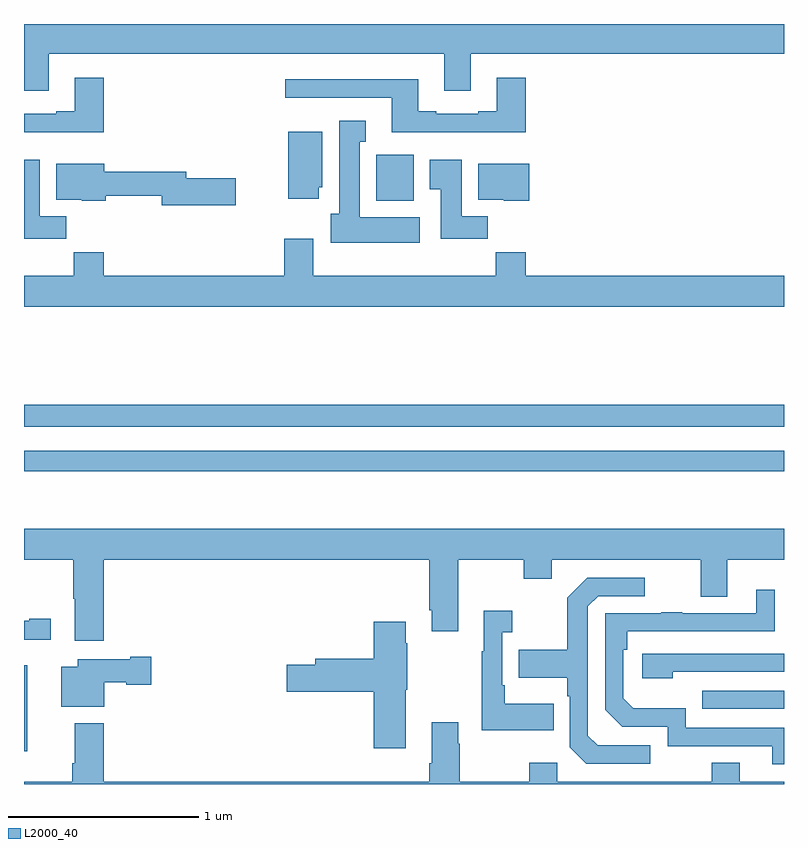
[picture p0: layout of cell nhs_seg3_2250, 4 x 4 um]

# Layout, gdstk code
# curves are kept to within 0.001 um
import gdstk
lib = gdstk.Library(unit=1e-6, precision=1e-09)
def R(c, l, rs):  # rectangles x0, y0, x1, y1
    for r in rs: c.add(gdstk.rectangle(r[:2], r[2:], *l))
def P(c, l, *ps):  # polygons
    for p in ps: c.add(gdstk.Polygon(p, *l))
L2000_40 = (2000, 40)

nhs_seg3_2250 = lib.new_cell('nhs_seg3_2250')
R(nhs_seg3_2250, L2000_40, [(227,702.573,227.017,703.024), (230.569,702.795,231,702.891), (227,704.046,231,704.154), (227,704.28,231,704.396), (228.854,705.47,229.051,705.712)])
P(nhs_seg3_2250, L2000_40, [(227.131,706.244),(229.211,706.244),(229.211,706.05),(229.351,706.05),(229.351,706.244),(231,706.244),(231,706.4),(227,706.4),(227,706.05),(227.131,706.05)],
  [(229.64,706.117),(229.487,706.117),(229.487,705.94),(229.391,705.94),(229.391,705.927),(229.171,705.927),(229.171,705.94),(229.075,705.94),(229.075,706.108),(228.375,706.108),(228.375,706.011),(228.935,706.011),(228.935,705.83),(229.64,705.83)],
  [(227.42,706.117),(227.267,706.117),(227.267,705.94),(227.171,705.94),(227.171,705.927),(227,705.927),(227,705.83),(227.42,705.83)],
  [(229.084,705.382),(228.766,705.382),(228.766,705.779),(228.799,705.779),(228.799,705.892),(228.659,705.892),(228.659,705.402),(228.614,705.402),(228.614,705.248),(229.084,705.248)],
  [(228.55,705.54),(228.571,705.54),(228.571,705.832),(228.392,705.832),(228.392,705.48),(228.55,705.48)],
  [(229.442,705.388),(229.303,705.388),(229.303,705.685),(229.136,705.685),(229.136,705.529),(229.193,705.529),(229.193,705.27),(229.442,705.27)],
  [(227.222,705.388),(227.083,705.388),(227.083,705.685),(227,705.685),(227,705.27),(227.222,705.27)],
  [(229.66,705.664),(229.391,705.664),(229.391,705.476),(229.524,705.476),(229.524,705.47),(229.66,705.47)],
  [(228.115,705.587),(227.854,705.587),(227.854,705.623),(227.422,705.623),(227.422,705.664),(227.171,705.664),(227.171,705.476),(227.304,705.476),(227.304,705.47),(227.43,705.47),(227.43,705.495),(227.726,705.495),(227.726,705.445),(228.115,705.445)],
  [(231,705.076),(229.64,705.076),(229.64,705.2),(229.483,705.2),(229.483,705.076),(228.523,705.076),(228.523,705.271),(228.371,705.271),(228.371,705.076),(227.42,705.076),(227.42,705.2),(227.263,705.2),(227.263,705.076),(227,705.076),(227,704.912),(231,704.912)],
  [(227.42,703.58),(229.133,703.58),(229.133,703.315),(229.145,703.315),(229.145,703.203),(229.285,703.203),(229.285,703.58),(229.63,703.58),(229.63,703.481),(229.777,703.481),(229.777,703.58),(230.561,703.58),(230.561,703.386),(230.701,703.386),(230.701,703.58),(231,703.58),(231,703.744),(227,703.744),(227,703.58),(227.26,703.58),(227.26,703.376),(227.267,703.376),(227.267,703.155),(227.42,703.155)],
  [(230.296,702.603),(230.019,702.603),(229.968,702.654),(229.968,703.335),(230.022,703.389),(230.266,703.389),(230.266,703.485),(229.965,703.485),(229.86,703.379),(229.86,703.107),(229.603,703.107),(229.603,702.959),(229.86,702.959),(229.86,702.863),(229.872,702.863),(229.872,702.594),(229.959,702.507),(230.296,702.507)],
  [(231,702.696),(230.484,702.696),(230.484,702.799),(230.207,702.799),(230.154,702.852),(230.154,703.106),(230.174,703.106),(230.174,703.203),(230.951,703.204),(230.951,703.423),(230.855,703.423),(230.855,703.299),(230.465,703.299),(230.465,703.304),(230.353,703.304),(230.353,703.299),(230.058,703.299),(230.058,702.792),(230.148,702.702),(230.388,702.702),(230.388,702.6),(230.939,702.6),(230.939,702.504),(231,702.504)],
  [(229.787,702.823),(229.531,702.823),(229.531,702.919),(229.518,702.919),(229.518,703.199),(229.57,703.199),(229.57,703.312),(229.421,703.312),(229.421,703.099),(229.41,703.099),(229.41,702.683),(229.787,702.683)],
  [(227.14,703.27),(227.027,703.27),(227.027,703.26),(227,703.26),(227,703.16),(227.14,703.16)],
  [(229.009,702.897),(229.017,702.897),(229.017,703.142),(229.009,703.142),(229.009,703.255),(228.842,703.255),(228.842,703.058),(228.533,703.058),(228.533,703.028),(228.384,703.028),(228.384,702.886),(228.842,702.886),(228.842,702.588),(229.009,702.588)],
  [(230.414,702.99),(231,702.99),(231,703.086),(230.253,703.086),(230.253,702.956),(230.414,702.956)],
  [(227.422,702.935),(227.538,702.935),(227.538,702.923),(227.671,702.923),(227.671,703.07),(227.558,703.07),(227.558,703.057),(227.282,703.057),(227.282,703.018),(227.195,703.018),(227.195,702.806),(227.422,702.806)],
  [(227.42,702.721),(227.267,702.721),(227.267,702.508),(227.255,702.508),(227.255,702.412),(227,702.412),(227,702.4),(231,702.4),(231,702.412),(230.767,702.412),(230.767,702.511),(230.62,702.511),(230.62,702.412),(229.806,702.412),(229.806,702.511),(229.66,702.511),(229.66,702.412),(229.293,702.412),(229.293,702.611),(229.285,702.611),(229.285,702.724),(229.145,702.724),(229.145,702.508),(229.133,702.508),(229.133,702.412),(227.42,702.412)])

lib.write_gds('nhs_seg3_2250.gds')
